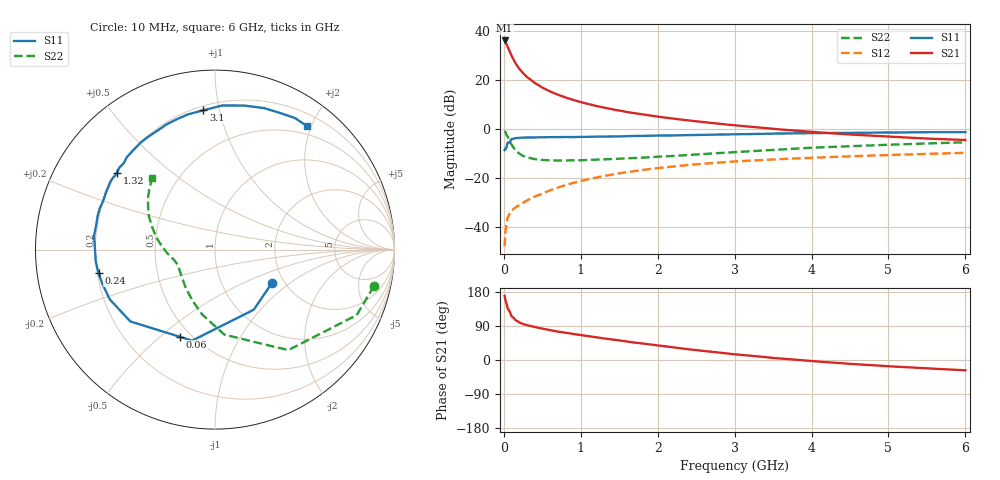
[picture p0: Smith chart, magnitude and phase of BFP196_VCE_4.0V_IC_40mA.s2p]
! Infineon Technologies  Discrete & RF Semiconductors
! BFP196
! VCE = 4.0 V,  IC =  40mA
! Common Emitter S-Parameters:  Jan 2016
# GHz  S  MA  R  50
!  f  S11  S21  S12  S22
! GHz  MAG  ANG  MAG  ANG  MAG  ANG  MAG  ANG
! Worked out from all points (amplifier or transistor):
!   210 points, 10 MHz to 6 GHz, reference 50 ohm
!   highest |S21| = 36.2 dB at 10 MHz (marker M1)
!   |S21| within 3 dB of that: start of sweep to 56.18 MHz
!   unconditionally stable (mu >= 1): 498.1 MHz to 4.378 GHz
!   at 185 MHz: K = 0.66, MSG = 28.4 dB, |S12| = -31.5 dB
!   at 1.52 GHz: K = 1.09, MAG = 10.9 dB, |S12| = -18.1 dB
!   at 6 GHz: K = 0.97, MSG = 2.6 dB, |S12| = -9.8 dB
!   S11 on the Smith chart (normalised r, x): 10 MHz: 1.71, -0.75; 60 MHz: 0.44, -0.58; 240 MHz: 0.21, -0.09; 1.32 GHz: 0.20, +0.33; 3.1 GHz: 0.23, +0.89; 6 GHz: 0.37, +1.94
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0.01  0.3675 -30.9  64.27 169.4  0.004 80.6  0.9085 -12.9
0.02  0.3983 -57.1  60.62 158.6  0.0078 74.6  0.8697 -24.8
0.05  0.5229 -104.1  47.8 136.0  0.0155 55.8  0.6931 -53.9
0.06  0.5239 -112.0  44.1 133.2  0.0166 53.7  0.6389 -58.2
0.1  0.6187 -139.7  30.99 115.6  0.0214 47.7  0.4765 -83.7
0.15  0.6487 -154.7  22.05 105.5  0.0247 46.7  0.369 -101.1
0.2  0.6566 -163.6  17 99.2  0.0276 48.2  0.3134 -113.1
0.24  0.6614 -168.7  14.35 95.9  0.0302 50.2  0.2862 -120.6
0.26  0.664 -170.9  13.25 94.3  0.0315 51.1  0.2766 -124.0
0.3  0.6677 -174.3  11.5 91.7  0.0343 53.1  0.2632 -129.3
0.4  0.6696 178.4  8.73 86.9  0.0411 56.5  0.2414 -139.4
0.5  0.6783 173.6  6.983 82.7  0.0474 58.6  0.2315 -146.3
0.6  0.6757 168.4  5.835 78.7  0.0555 59.7  0.2275 -151.1
0.7  0.68 164.1  5.015 75.0  0.0629 60.1  0.2262 -154.6
0.9  0.6795 156.8  3.907 68.8  0.0785 59.7  0.2263 -160.0
1.02  0.6864 152.1  3.463 65.1  0.0871 59.2  0.229 -162.2
1.32  0.6944 142.0  2.685 56.4  0.1102 56.4  0.2379 -167.0
2.02  0.7299 121.5  1.764 38.0  0.1592 47.4  0.2702 -176.9
3.1  0.7788 94.8  1.144 13.3  0.22 32.2  0.3417 166.3
4.1  0.8211 76.8  0.847 -4.3  0.2603 19.7  0.4182 152.0
5.1  0.845 63.5  0.685 -17.5  0.2951 8.6  0.4792 140.7
6  0.8577 53.3  0.593 -27.2  0.3241 -1.4  0.5308 131.0
